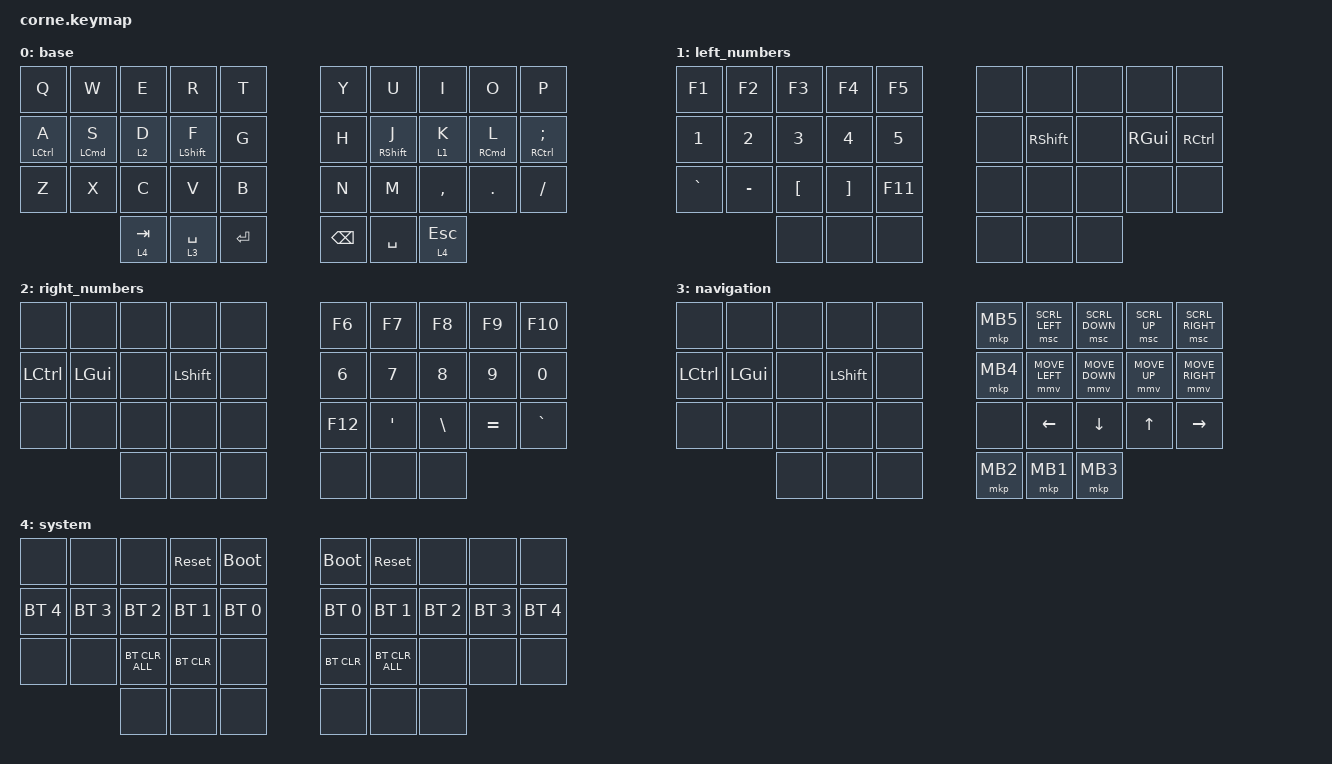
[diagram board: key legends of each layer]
#include <behaviors.dtsi>
#include <dt-bindings/zmk/keys.h>
#include <dt-bindings/zmk/bt.h>

// ==== MOUSE-KEY <section begins> ====

#define ZMK_MOUSE_DEFAULT_MOVE_VAL 1800
#define ZMK_MOUSE_DEFAULT_SCRL_VAL 15

#include <dt-bindings/zmk/mouse.h>
#include <behaviors/mouse_keys.dtsi>

&mmv {
  acceleration-exponent = <1>;
  time-to-max-speed-ms = <500>;
  delay-ms = <0>;
};

&msc {
  acceleration-exponent = <1>;
  time-to-max-speed-ms = <500>;
  delay-ms = <0>;
};

// ==== MOUSE-KEY <section ends> =====


/ {
    chosen {
      zmk,matrix_transform = &five_column_transform;
    };

    behaviors {
        // ==== Home Row Mods <section begins> =====
        // TODO: Consider using the fast config for the thumb so that the mouse
        // and arrow layers are accessible faster.

        #define FAST_HOLDING_TIME 140
        #define SLOW_HOLDING_TIME 250

        // Index finger.
        mod_fast: hrm_mod_fast {
            compatible = "zmk,behavior-hold-tap";
            flavor = "tap-preferred";
            tapping-term-ms = <FAST_HOLDING_TIME>;
            #binding-cells = <2>;
            bindings = <&kp>, <&kp>;
        };

        // Middle finger.
        layer_fast: hrm_layer_fast {
            compatible = "zmk,behavior-hold-tap";
            flavor = "tap-preferred";
            tapping-term-ms = <FAST_HOLDING_TIME>;
            #binding-cells = <2>;
            bindings = <&mo>, <&kp>;
        };

        // Ring finger & pinky finger.
        mod_slow: hrm_mod_slow {
            compatible = "zmk,behavior-hold-tap";
            flavor = "tap-preferred";
            tapping-term-ms = <SLOW_HOLDING_TIME>;
            #binding-cells = <2>;
            bindings = <&kp>, <&kp>;
        };

        // Thumb.
        layer_slow: hrm_layer_slow {
            compatible = "zmk,behavior-hold-tap";
            flavor = "tap-preferred";
            tapping-term-ms = <SLOW_HOLDING_TIME>;
            #binding-cells = <2>;
            bindings = <&mo>, <&kp>;
        };
        // ==== Home Row Mods <section ends> =====
    };
        keymap {
                compatible = "zmk,keymap";
                default_layer {
                        display-name = "base"; // 0
                        bindings = <
   &kp Q                     &kp W                     &kp E               &kp R                  &kp T                       &kp Y             &kp U                    &kp I             &kp O                      &kp P
   &mod_slow LEFT_CONTROL A  &mod_slow LEFT_COMMAND S  &layer_fast 2 D     &mod_fast LEFT_SHIFT F &kp G                       &kp H             &mod_fast RIGHT_SHIFT J  &layer_fast 1 K   &mod_slow RIGHT_COMMAND L  &mod_slow RIGHT_CONTROL SEMICOLON
   &kp Z                     &kp X                     &kp C               &kp V                  &kp B                       &kp N             &kp M                    &kp COMMA         &kp DOT                    &kp FSLH
                                                       &layer_slow 4 TAB   &layer_slow 3 SPACE    &kp RET                     &kp BSPC          &kp SPACE                &layer_slow 4 ESC
                        >;
                };
                layer_left_numbers {
                        display-name = "left_numbers"; // 1
                        bindings = <
   &kp F1     &kp F2    &kp F3    &kp F4   &kp F5                       &none      &none       &none     &none      &none
   &kp N1     &kp N2    &kp N3    &kp N4   &kp N5                       &none      &kp RSHFT   &none     &kp RGUI   &kp RCTRL
   &kp GRAVE  &kp MINUS &kp LBKT  &kp RBKT &kp F11                      &none      &none       &none     &none      &none
                        &none     &none    &none                        &none      &none       &none
                        >;
                };
                layer_right_numbers {
                        display-name = "right_numbers"; // 2
                        bindings = <
   &none      &none      &none     &none      &none                      &kp F6   &kp F7    &kp F8     &kp F9    &kp F10
   &kp LCTRL  &kp LGUI   &none     &kp LSHFT  &none                      &kp N6   &kp N7    &kp N8     &kp N9    &kp N0
   &none      &none      &none     &none      &none                      &kp F12  &kp SQT   &kp BSLH   &kp EQUAL &kp GRAVE
                         &none     &none      &none                      &none    &none     &none
                        >;
                };
                layer_navigation {
                        display-name = "navigation"; // 3
                        bindings = <
   &none      &none      &none     &none      &none                      &mkp MB5  &msc SCRL_LEFT  &msc SCRL_DOWN  &msc SCRL_UP  &msc SCRL_RIGHT
   &kp LCTRL  &kp LGUI   &none     &kp LSHFT  &none                      &mkp MB4  &mmv MOVE_LEFT  &mmv MOVE_DOWN  &mmv MOVE_UP  &mmv MOVE_RIGHT
   &none      &none      &none     &none      &none                      &none     &kp LEFT        &kp DOWN        &kp UP        &kp RIGHT
                         &none     &none      &none                      &mkp MB2  &mkp MB1        &mkp MB3
                        >;
                };
                layer_system {
                        display-name = "system"; // 4
                        bindings = <
   &none          &none          &none           &sys_reset     &bootloader                 &bootloader    &sys_reset      &none          &none          &none
   &bt BT_SEL 4   &bt BT_SEL 3   &bt BT_SEL 2    &bt BT_SEL 1   &bt BT_SEL 0                &bt BT_SEL 0   &bt BT_SEL 1    &bt BT_SEL 2   &bt BT_SEL 3   &bt BT_SEL 4  
   &none          &none          &bt BT_CLR_ALL  &bt BT_CLR     &none                       &bt BT_CLR     &bt BT_CLR_ALL  &none          &none          &none
                                 &none           &none          &none                       &none          &none           &none
                        >;
                };
        };
};
